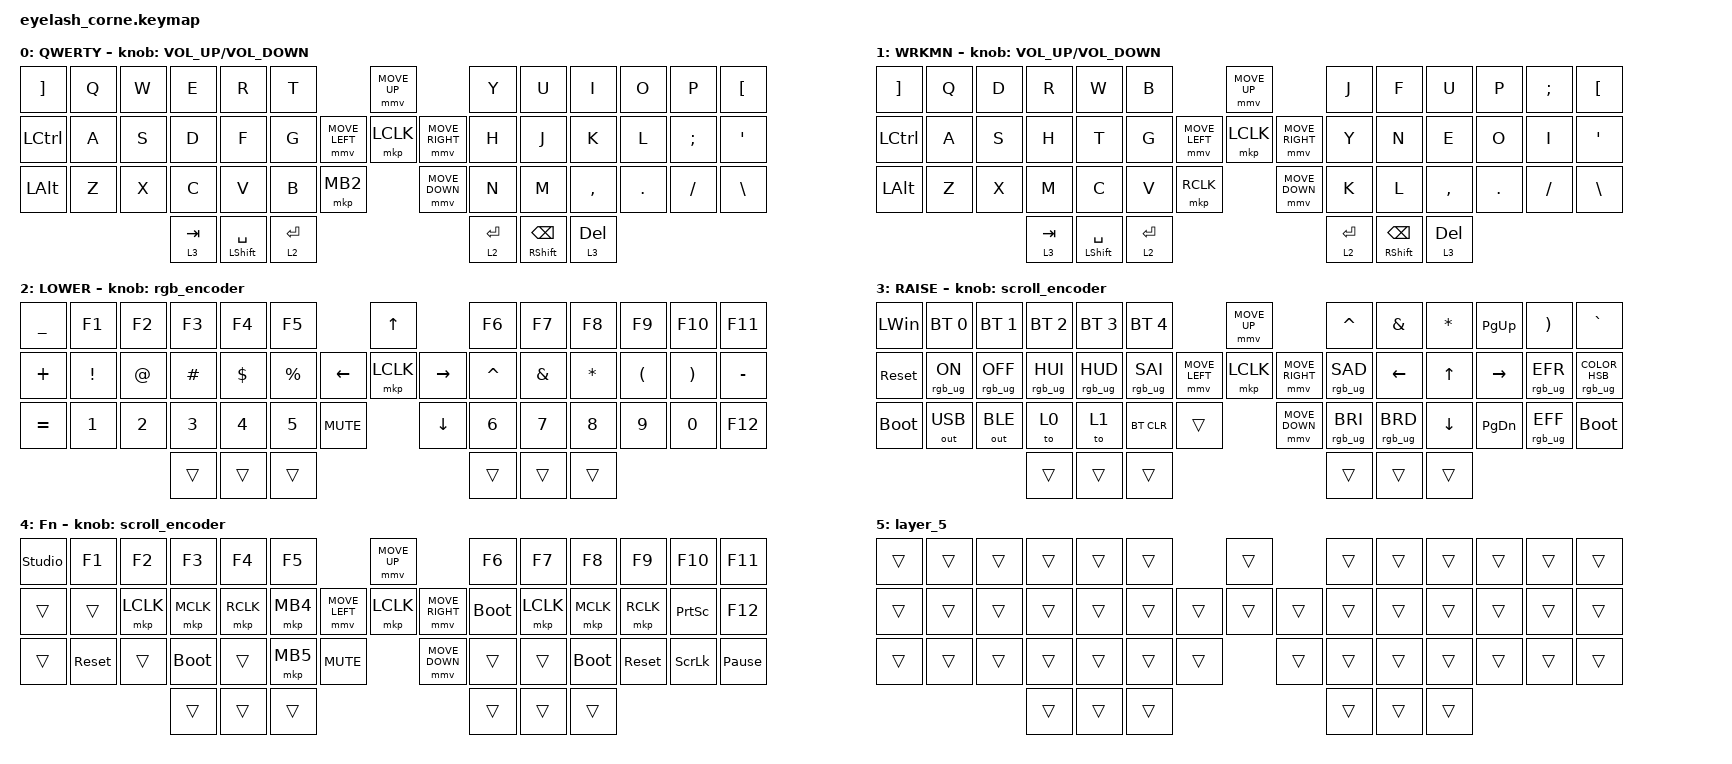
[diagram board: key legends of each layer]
#include <dt-bindings/zmk/mouse.h>
#include <input/processors.dtsi>
#include <behaviors.dtsi>
#include <dt-bindings/zmk/bt.h>
#include <dt-bindings/zmk/keys.h>
#include <dt-bindings/zmk/outputs.h>
#include <dt-bindings/zmk/pointing.h>
#include <dt-bindings/zmk/rgb.h>

&mt { quick-tap-ms = <200>; };

&lt { quick-tap-ms = <200>; };

/*

   &mmv_input_listener {
       input-processors = <&zip_xy_scaler 2 1>;
   };

   &msc_input_listener {
       input-processors = <&zip_xy_scaler 2 1>;
   };

 */

#define ZMK_MOUSE_DEFAULT_MOVE_VAL 3600  // 600
#define ZMK_MOUSE_DEFAULT_SCRL_VAL 30    // 10

/ {
    behaviors {
        td0: td0 {
            compatible = "zmk,behavior-tap-dance";
            display-name = "Shift/Caps Lock Tap Dance";
            #binding-cells = <0>;
            bindings = <&kp LEFT_SHIFT>, <&kp CAPS>;
        };
    };

    rgb_encoder: rgb_encoder {
        compatible = "zmk,behavior-sensor-rotate";
        #sensor-binding-cells = <0>;
        bindings = <&rgb_ug RGB_HUI>, <&rgb_ug RGB_HUD>;
    };

    scroll_encoder: scroll_encoder {
        compatible = "zmk,behavior-sensor-rotate";
        #sensor-binding-cells = <0>;
        bindings = <&msc SCRL_DOWN>, <&msc SCRL_UP>;

        tap-ms = <30>;
    };

    keymap {
        compatible = "zmk,keymap";

        default_layer {
            display-name = "QWERTY";
            bindings = <
&kp RIGHT_BRACKET  &kp Q  &kp W  &kp E      &kp R                 &kp T                                    &mmv MOVE_UP                     &kp Y        &kp U                      &kp I         &kp O    &kp P     &kp LEFT_BRACKET
&kp LCTRL          &kp A  &kp S  &kp D      &kp F                 &kp G                    &mmv MOVE_LEFT  &mkp LCLK       &mmv MOVE_RIGHT  &kp H        &kp J                      &kp K         &kp L    &kp SEMI  &kp SQT
&kp LEFT_ALT       &kp Z  &kp X  &kp C      &kp V                 &kp B        &mkp MB2                    &mmv MOVE_DOWN                   &kp N        &kp M                      &kp COMMA     &kp DOT  &kp FSLH  &kp BACKSLASH
                                 &lt 3 TAB  &mt LEFT_SHIFT SPACE  &lt 2 ENTER                                                               &lt 2 ENTER  &mt RIGHT_SHIFT BACKSPACE  &lt 3 DELETE
            >;

            sensor-bindings = <&inc_dec_kp C_VOLUME_UP C_VOLUME_DOWN>;
        };

        WORKMAN {
            display-name = "WRKMN";
            bindings = <
&kp RIGHT_BRACKET  &kp Q  &kp D  &kp R      &kp W                 &kp B                                     &mmv MOVE_UP                     &kp J        &kp F                      &kp U         &kp P    &kp SEMICOLON  &kp LEFT_BRACKET
&kp LCTRL          &kp A  &kp S  &kp H      &kp T                 &kp G                     &mmv MOVE_LEFT  &mkp LCLK       &mmv MOVE_RIGHT  &kp Y        &kp N                      &kp E         &kp O    &kp I          &kp SQT
&kp LEFT_ALT       &kp Z  &kp X  &kp M      &kp C                 &kp V        &mkp RCLK                    &mmv MOVE_DOWN                   &kp K        &kp L                      &kp COMMA     &kp DOT  &kp FSLH       &kp BACKSLASH
                                 &lt 3 TAB  &mt LEFT_SHIFT SPACE  &lt 2 ENTER                                                                &lt 2 ENTER  &mt RIGHT_SHIFT BACKSPACE  &lt 3 DELETE
            >;

            sensor-bindings = <&inc_dec_kp C_VOLUME_UP C_VOLUME_DOWN>;
        };

        lower_layer {
            display-name = "LOWER";
            bindings = <
&kp UNDERSCORE  &kp F1           &kp F2        &kp F3        &kp F4        &kp F5                                     &kp UP                     &kp F6        &kp F7         &kp F8        &kp F9                &kp F10                &kp F11
&kp PLUS        &kp EXCLAMATION  &kp AT        &kp HASH      &kp DOLLAR    &kp PERCENT                &kp LEFT_ARROW  &mkp LCLK       &kp RIGHT  &kp CARET     &kp AMPERSAND  &kp ASTERISK  &kp LEFT_PARENTHESIS  &kp RIGHT_PARENTHESIS  &kp MINUS
&kp EQUAL       &kp NUMBER_1     &kp NUMBER_2  &kp NUMBER_3  &kp NUMBER_4  &kp N5       &kp C_MUTE                    &kp DOWN_ARROW             &kp NUMBER_6  &kp NUMBER_7   &kp NUMBER_8  &kp N9                &kp N0                 &kp F12
                                               &trans        &trans        &trans                                                                &trans        &trans         &trans
            >;

            sensor-bindings = <&rgb_encoder>;
        };

        raise_layer {
            display-name = "RAISE";
            bindings = <
&kp LEFT_WIN  &bt BT_SEL 0    &bt BT_SEL 1     &bt BT_SEL 2     &bt BT_SEL 3     &bt BT_SEL 4                               &mmv MOVE_UP                     &kp CARET        &kp AMPS         &kp ASTRK     &kp PAGE_UP    &kp RPAR         &kp GRAVE
&sys_reset    &rgb_ug RGB_ON  &rgb_ug RGB_OFF  &rgb_ug RGB_HUI  &rgb_ug RGB_HUD  &rgb_ug RGB_SAI            &mmv MOVE_LEFT  &mkp LCLK       &mmv MOVE_RIGHT  &rgb_ug RGB_SAD  &kp LEFT         &kp UP_ARROW  &kp RIGHT      &rgb_ug RGB_EFR  &rgb_ug RGB_COLOR_HSB(355,78,48)
&bootloader   &out OUT_USB    &out OUT_BLE     &to 0            &to 1            &bt BT_CLR       &trans                    &mmv MOVE_DOWN                   &rgb_ug RGB_BRI  &rgb_ug RGB_BRD  &kp DOWN      &kp PAGE_DOWN  &rgb_ug RGB_EFF  &bootloader
                                               &trans           &trans           &trans                                                                      &trans           &trans           &trans
            >;

            sensor-bindings = <&scroll_encoder>;
        };

        layer_3 {
            display-name = "Fn";
            bindings = <
&studio_unlock  &kp F1      &kp F2     &kp F3       &kp F4     &kp F5                                  &mmv MOVE_UP                     &kp F6       &kp F7     &kp F8       &kp F9      &kp F10          &kp F11
&trans          &trans      &mkp LCLK  &mkp MCLK    &mkp RCLK  &mkp MB4                &mmv MOVE_LEFT  &mkp LCLK       &mmv MOVE_RIGHT  &bootloader  &mkp LCLK  &mkp MCLK    &mkp RCLK   &kp PRINTSCREEN  &kp F12
&trans          &sys_reset  &trans     &bootloader  &trans     &mkp MB5  &kp C_MUTE                    &mmv MOVE_DOWN                   &trans       &trans     &bootloader  &sys_reset  &kp SCROLLLOCK   &kp PAUSE_BREAK
                                       &trans       &trans     &trans                                                                   &trans       &trans     &trans
            >;

            sensor-bindings = <&scroll_encoder>;
        };

        layer_5 {
            bindings = <
&trans  &trans  &trans  &trans  &trans  &trans                    &trans          &trans  &trans  &trans  &trans  &trans  &trans
&trans  &trans  &trans  &trans  &trans  &trans            &trans  &trans  &trans  &trans  &trans  &trans  &trans  &trans  &trans
&trans  &trans  &trans  &trans  &trans  &trans  &trans            &trans          &trans  &trans  &trans  &trans  &trans  &trans
                        &trans  &trans  &trans                                    &trans  &trans  &trans
            >;
        };
    };
};
